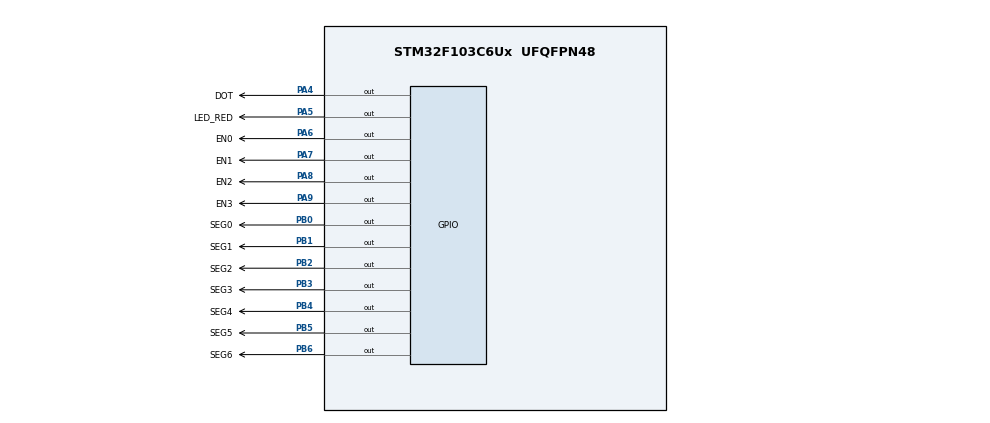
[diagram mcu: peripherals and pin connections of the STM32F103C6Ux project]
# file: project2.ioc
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Mcu.Family=STM32F1
Mcu.Name=STM32F103C6Ux
Mcu.Package=UFQFPN48
NVIC.PriorityGroup=NVIC_PRIORITYGROUP_4
NVIC.TIM2_IRQn=true\:0\:0\:false\:false\:true\:true\:true
PA4.GPIO_Label=DOT
PA4.Signal=GPIO_Output
PA5.GPIO_Label=LED_RED
PA5.Signal=GPIO_Output
PA6.GPIO_Label=EN0
PA6.Signal=GPIO_Output
PA7.GPIO_Label=EN1
PA7.Signal=GPIO_Output
PA8.GPIO_Label=EN2
PA8.Signal=GPIO_Output
PA9.GPIO_Label=EN3
PA9.Signal=GPIO_Output
PB0.GPIO_Label=SEG0
PB0.Signal=GPIO_Output
PB1.GPIO_Label=SEG1
PB1.Signal=GPIO_Output
PB2.GPIO_Label=SEG2
PB2.Signal=GPIO_Output
PB3.GPIO_Label=SEG3
PB3.Signal=GPIO_Output
PB4.GPIO_Label=SEG4
PB4.Signal=GPIO_Output
PB5.GPIO_Label=SEG5
PB5.Signal=GPIO_Output
PB6.GPIO_Label=SEG6
PB6.Signal=GPIO_Output
ProjectManager.HeapSize=0x200
ProjectManager.StackSize=0x400
ProjectManager.TargetToolchain=STM32CubeIDE
RCC.APB1Freq_Value=8000000
RCC.APB1TimFreq_Value=8000000
RCC.APB2Freq_Value=8000000
RCC.USBFreq_Value=8000000
TIM2.Period=9
TIM2.Prescaler=7999
VP_SYS_VS_ND.Mode=No_Debug
VP_TIM2_VS_ClockSourceINT.Mode=Internal
board=custom

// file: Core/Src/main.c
/* USER CODE BEGIN Header */
/**
  ******************************************************************************
  * @file           : main.c
  * @brief          : Main program body
  ******************************************************************************
  * @attention
  *
  * <h2><center>&copy; Copyright (c) 2023 STMicroelectronics.
  * All rights reserved.</center></h2>
  *
  * This software component is licensed by ST under BSD 3-Clause license,
  * the "License"; You may not use this file except in compliance with the
  * License. You may obtain a copy of the License at:
  *                        opensource.org/licenses/BSD-3-Clause
  *
  ******************************************************************************
  */
/* USER CODE END Header */
#include "main.h"

TIM_HandleTypeDef htim2;

void SystemClock_Config(void);
static void MX_GPIO_Init(void);
static void MX_TIM2_Init(void);

/* USER CODE BEGIN 0 */

int hour = 15, minute = 99, second = 50;
const int MAX_LED = 4;

int led_buffer[4] = {2, 8, 0, 6};
void updateClockBuffer(){
	led_buffer[0] = hour/10;
	led_buffer[1] = hour%10;
	led_buffer[2] = minute/10;
	led_buffer[3] = minute%10;
}

void update7SEG(int index){
    switch (index){
        case 0:
            //Display the first 7SEG with led_buffer[0]
        	display7SEG(led_buffer[0]);
        	HAL_GPIO_WritePin(EN0_GPIO_Port, EN0_Pin, GPIO_PIN_RESET);
        	HAL_GPIO_WritePin(EN1_GPIO_Port, EN1_Pin, GPIO_PIN_SET);
        	HAL_GPIO_WritePin(EN2_GPIO_Port, EN2_Pin, GPIO_PIN_SET);
        	HAL_GPIO_WritePin(EN3_GPIO_Port, EN3_Pin, GPIO_PIN_SET);
            break;
        case 1:
        	display7SEG(led_buffer[1]);
        	HAL_GPIO_WritePin(EN0_GPIO_Port, EN0_Pin, GPIO_PIN_SET);
        	HAL_GPIO_WritePin(EN1_GPIO_Port, EN1_Pin, GPIO_PIN_RESET);
        	HAL_GPIO_WritePin(EN2_GPIO_Port, EN2_Pin, GPIO_PIN_SET);
        	HAL_GPIO_WritePin(EN3_GPIO_Port, EN3_Pin, GPIO_PIN_SET);
            //Display the second 7SEG with led_buffer[1]
            break;
        case 2:
        	display7SEG(led_buffer[2]);
        	HAL_GPIO_WritePin(EN0_GPIO_Port, EN0_Pin, GPIO_PIN_SET);
        	HAL_GPIO_WritePin(EN1_GPIO_Port, EN1_Pin, GPIO_PIN_SET);
        	HAL_GPIO_WritePin(EN2_GPIO_Port, EN2_Pin, GPIO_PIN_RESET);
        	HAL_GPIO_WritePin(EN3_GPIO_Port, EN3_Pin, GPIO_PIN_SET);
            //Display the third 7SEG with led_buffer[2]
            break;
        case 3:
            //Display the forth 7SEG with led_buffer[3]
        	display7SEG(led_buffer[3]);
        	HAL_GPIO_WritePin(EN0_GPIO_Port, EN0_Pin, GPIO_PIN_SET);
        	HAL_GPIO_WritePin(EN1_GPIO_Port, EN1_Pin, GPIO_PIN_SET);
        	HAL_GPIO_WritePin(EN2_GPIO_Port, EN2_Pin, GPIO_PIN_SET);
        	HAL_GPIO_WritePin(EN3_GPIO_Port, EN3_Pin, GPIO_PIN_RESET);
            break;
        default:
            break;
    }
}

/* USER CODE END 0 */

int main(void)
{

  /* MCU Configuration--------------------------------------------------------*/

  /* Reset of all peripherals, Initializes the Flash interface and the Systick. */
  HAL_Init();

  /* Configure the system clock */
  SystemClock_Config();

  /* Initialize all configured peripherals */
  MX_GPIO_Init();
  MX_TIM2_Init();
  /* USER CODE BEGIN 2 */
  HAL_TIM_Base_Start_IT (& htim2 ) ;
  /* USER CODE END 2 */

  /* Infinite loop */
  /* USER CODE BEGIN WHILE */
  setTimer1(1000);
  while(1){
      second++;
      if (second >= 60){
          second = 0;
          minute++;
      }
      if(minute >= 60){
          minute = 0;
          hour++;
      }
      if(hour >=24){
          hour = 0;
      }
      updateClockBuffer();
      setTimer1(1000);
    /* USER CODE END WHILE */

  }
}

void SystemClock_Config(void)
{
  RCC_OscInitTypeDef RCC_OscInitStruct = {0};
  RCC_ClkInitTypeDef RCC_ClkInitStruct = {0};

  /** Initializes the RCC Oscillators according to the specified parameters
  * in the RCC_OscInitTypeDef structure.
  */
  RCC_OscInitStruct.OscillatorType = RCC_OSCILLATORTYPE_HSI;
  RCC_OscInitStruct.HSIState = RCC_HSI_ON;
  RCC_OscInitStruct.HSICalibrationValue = RCC_HSICALIBRATION_DEFAULT;
  RCC_OscInitStruct.PLL.PLLState = RCC_PLL_NONE;
  if (HAL_RCC_OscConfig(&RCC_OscInitStruct) != HAL_OK)
  {
    Error_Handler();
  }
  /** Initializes the CPU, AHB and APB buses clocks
  */
  RCC_ClkInitStruct.ClockType = RCC_CLOCKTYPE_HCLK|RCC_CLOCKTYPE_SYSCLK
                              |RCC_CLOCKTYPE_PCLK1|RCC_CLOCKTYPE_PCLK2;
  RCC_ClkInitStruct.SYSCLKSource = RCC_SYSCLKSOURCE_HSI;
  RCC_ClkInitStruct.AHBCLKDivider = RCC_SYSCLK_DIV1;
  RCC_ClkInitStruct.APB1CLKDivider = RCC_HCLK_DIV1;
  RCC_ClkInitStruct.APB2CLKDivider = RCC_HCLK_DIV1;

  if (HAL_RCC_ClockConfig(&RCC_ClkInitStruct, FLASH_LATENCY_0) != HAL_OK)
  {
    Error_Handler();
  }
}

static void MX_TIM2_Init(void)
{

  TIM_ClockConfigTypeDef sClockSourceConfig = {0};
  TIM_MasterConfigTypeDef sMasterConfig = {0};

  htim2.Instance = TIM2;
  htim2.Init.Prescaler = 7999;
  htim2.Init.CounterMode = TIM_COUNTERMODE_UP;
  htim2.Init.Period = 9;
  htim2.Init.ClockDivision = TIM_CLOCKDIVISION_DIV1;
  htim2.Init.AutoReloadPreload = TIM_AUTORELOAD_PRELOAD_DISABLE;
  if (HAL_TIM_Base_Init(&htim2) != HAL_OK)
  {
    Error_Handler();
  }
  sClockSourceConfig.ClockSource = TIM_CLOCKSOURCE_INTERNAL;
  if (HAL_TIM_ConfigClockSource(&htim2, &sClockSourceConfig) != HAL_OK)
  {
    Error_Handler();
  }
  sMasterConfig.MasterOutputTrigger = TIM_TRGO_RESET;
  sMasterConfig.MasterSlaveMode = TIM_MASTERSLAVEMODE_DISABLE;
  if (HAL_TIMEx_MasterConfigSynchronization(&htim2, &sMasterConfig) != HAL_OK)
  {
    Error_Handler();
  }

}

static void MX_GPIO_Init(void)
{
  GPIO_InitTypeDef GPIO_InitStruct = {0};

  /* GPIO Ports Clock Enable */
  __HAL_RCC_GPIOA_CLK_ENABLE();
  __HAL_RCC_GPIOB_CLK_ENABLE();

  /*Configure GPIO pin Output Level */
  HAL_GPIO_WritePin(GPIOA, DOT_Pin|LED_RED_Pin|EN0_Pin|EN1_Pin
                          |EN2_Pin|EN3_Pin, GPIO_PIN_RESET);

  /*Configure GPIO pin Output Level */
  HAL_GPIO_WritePin(GPIOB, SEG0_Pin|SEG1_Pin|SEG2_Pin|SEG3_Pin
                          |SEG4_Pin|SEG5_Pin|SEG6_Pin, GPIO_PIN_RESET);

  /*Configure GPIO pins : DOT_Pin LED_RED_Pin EN0_Pin EN1_Pin
                           EN2_Pin EN3_Pin */
  GPIO_InitStruct.Pin = DOT_Pin|LED_RED_Pin|EN0_Pin|EN1_Pin
                          |EN2_Pin|EN3_Pin;
  GPIO_InitStruct.Mode = GPIO_MODE_OUTPUT_PP;
  GPIO_InitStruct.Pull = GPIO_NOPULL;
  GPIO_InitStruct.Speed = GPIO_SPEED_FREQ_LOW;
  HAL_GPIO_Init(GPIOA, &GPIO_InitStruct);

  /*Configure GPIO pins : SEG0_Pin SEG1_Pin SEG2_Pin SEG3_Pin
                           SEG4_Pin SEG5_Pin SEG6_Pin */
  GPIO_InitStruct.Pin = SEG0_Pin|SEG1_Pin|SEG2_Pin|SEG3_Pin
                          |SEG4_Pin|SEG5_Pin|SEG6_Pin;
  GPIO_InitStruct.Mode = GPIO_MODE_OUTPUT_PP;
  GPIO_InitStruct.Pull = GPIO_NOPULL;
  GPIO_InitStruct.Speed = GPIO_SPEED_FREQ_LOW;
  HAL_GPIO_Init(GPIOB, &GPIO_InitStruct);

}

void Error_Handler(void)
{
  __disable_irq();
  while (1)
  {
  }
}

/************************ (C) COPYRIGHT STMicroelectronics *****END OF FILE****/
